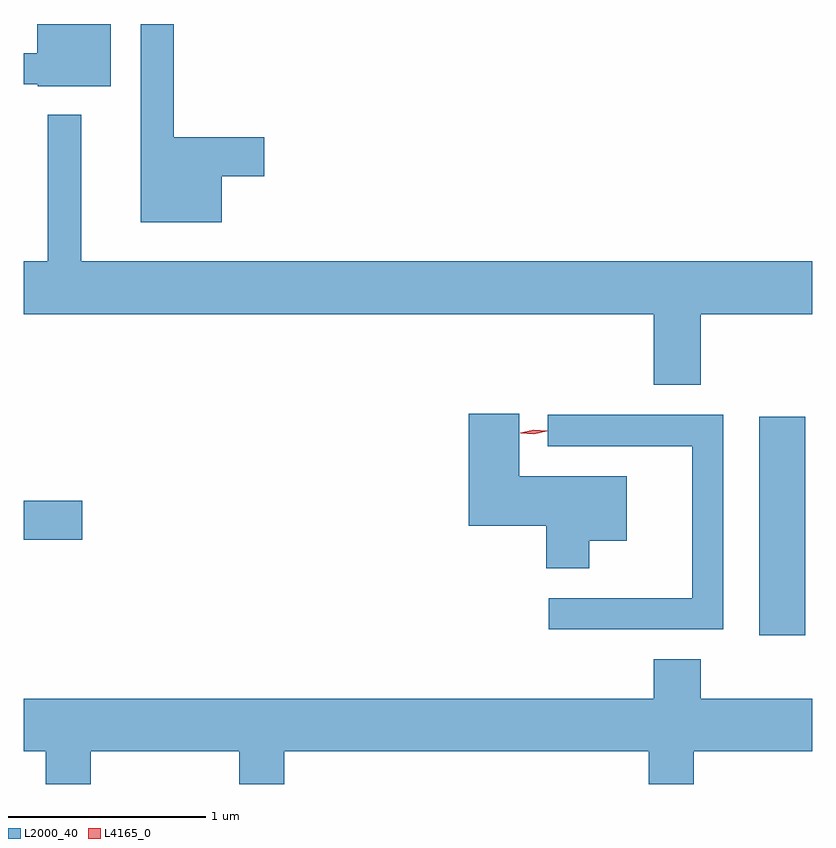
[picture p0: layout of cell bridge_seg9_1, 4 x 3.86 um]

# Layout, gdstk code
import gdstk
lib = gdstk.Library(unit=1e-6, precision=1e-09)
def R(c, l, rs):  # rectangles x0, y0, x1, y1
    for r in rs: c.add(gdstk.rectangle(r[:2], r[2:], *l))
def P(c, l, *ps):  # polygons
    for p in ps: c.add(gdstk.Polygon(p, *l))
L2000_40 = (2000, 40)
L4165_0 = (4165, 0)

bridge_seg9_1 = lib.new_cell('bridge_seg9_1')
R(bridge_seg9_1, L2000_40, [(1791.831,2076.766,1792.064,2077.874), (1788.099,2077.251,1788.394,2077.449)])
P(bridge_seg9_1, L2000_40, [(1789.104,2079.096),(1789.319,2079.096),(1789.319,2079.294),(1788.859,2079.294),(1788.859,2079.868),(1788.691,2079.868),(1788.691,2078.861),(1789.104,2078.861)],
  [(1788.539,2079.868),(1788.166,2079.868),(1788.166,2079.719),(1788.099,2079.719),(1788.099,2079.561),(1788.17,2079.561),(1788.17,2079.551),(1788.539,2079.551)],
  [(1791.534,2078.396),(1792.099,2078.396),(1792.099,2078.664),(1788.389,2078.664),(1788.389,2079.408),(1788.221,2079.408),(1788.221,2078.664),(1788.099,2078.664),(1788.099,2078.396),(1791.296,2078.396),(1791.296,2078.036),(1791.534,2078.036)],
  [(1790.969,2077.246),(1791.159,2077.246),(1791.159,2077.574),(1790.614,2077.574),(1790.614,2077.889),(1790.356,2077.889),(1790.356,2077.321),(1790.751,2077.321),(1790.751,2077.106),(1790.969,2077.106)],
  [(1791.649,2077.884),(1790.758,2077.884),(1790.758,2077.726),(1791.491,2077.726),(1791.491,2076.954),(1790.763,2076.954),(1790.763,2076.796),(1791.649,2076.796)],
  [(1788.439,2076.176),(1789.191,2076.176),(1789.191,2076.011),(1789.419,2076.011),(1789.419,2076.176),(1791.271,2076.176),(1791.271,2076.011),(1791.499,2076.011),(1791.499,2076.176),(1792.099,2076.176),(1792.099,2076.444),(1791.534,2076.444),(1791.534,2076.644),(1791.296,2076.644),(1791.296,2076.444),(1788.099,2076.444),(1788.099,2076.176),(1788.211,2076.176),(1788.211,2076.011),(1788.439,2076.011)])
P(bridge_seg9_1, L4165_0, [(1790.687,2077.789),(1790.618,2077.793),(1790.617,2077.794),(1790.618,2077.794),(1790.686,2077.809),(1790.755,2077.805),(1790.756,2077.804),(1790.755,2077.804)],
  [(1790.687,2077.787),(1790.62,2077.791),(1790.62,2077.792),(1790.62,2077.792),(1790.685,2077.807),(1790.752,2077.803),(1790.752,2077.803),(1790.752,2077.802)])

lib.write_gds('bridge_seg9_1.gds')
